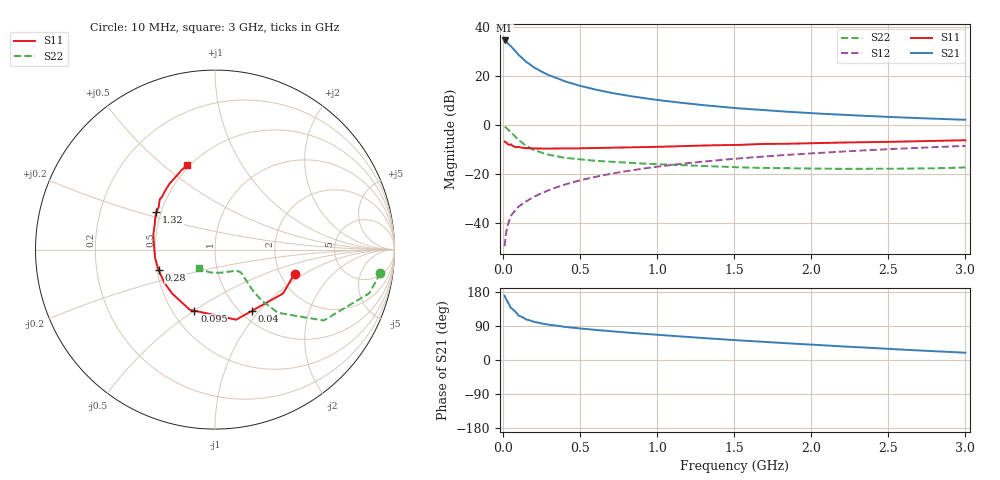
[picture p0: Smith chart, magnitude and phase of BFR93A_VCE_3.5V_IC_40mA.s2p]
! Infineon Technologies  Discrete & RF Semiconductors
! BFR93A
! VCE =  3.5 V,  IC =  40 mA
! Common Emitter S-Parameters:  Nov 2015
# GHz  S  MA  R  50
!  f  S11  S21  S12  S22
! GHz  MAG  ANG  MAG  ANG  MAG  ANG  MAG  ANG
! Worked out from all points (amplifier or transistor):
!   180 points, 10 MHz to 3 GHz, reference 50 ohm
!   highest |S21| = 34.6 dB at 10 MHz (marker M1)
!   |S21| within 3 dB of that: start of sweep to 60.38 MHz
!   unconditionally stable (mu >= 1): 291.8 MHz to 2.874 GHz
!   at 160 MHz: K = 0.85, MSG = 28.1 dB, |S12| = -30.7 dB
!   at 1.22 GHz: K = 1.08, MAG = 10.3 dB, |S12| = -15.3 dB
!   at 3 GHz: K = 0.99, MSG = 5.3 dB, |S12| = -8.4 dB
!   S11 on the Smith chart (normalised r, x): 10 MHz: 2.39, -0.82; 40 MHz: 1.12, -0.91; 95 MHz: 0.64, -0.50; 280 MHz: 0.51, -0.13; 1.32 GHz: 0.47, +0.23; 3 GHz: 0.48, +0.60
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0.01  0.4633 -16.9  53.84 169.5  0.0034 82.5  0.9308 -8.1
0.02  0.451 -32.9  51.56 160.0  0.0065 77.1  0.8934 -15.8
0.04  0.3986 -59.1  43.91 146.1  0.0114 70.0  0.7716 -26.5
0.05  0.4078 -73.2  41.31 137.5  0.0139 68.4  0.7233 -33.1
0.095  0.3593 -108.7  28.55 120.3  0.0209 64.6  0.5185 -43.4
0.1  0.3633 -112.8  27.37 117.4  0.0217 64.3  0.4973 -45.1
0.15  0.342 -134.2  19.68 107.0  0.0278 65.7  0.3784 -47.6
0.2  0.3372 -147.2  15.22 100.8  0.0345 68.1  0.3134 -47.3
0.24  0.3335 -154.4  12.94 97.3  0.0397 69.1  0.2817 -46.4
0.28  0.3335 -159.7  11.2 94.4  0.045 70.1  0.2585 -45.4
0.3  0.3342 -162.1  10.42 92.9  0.0476 70.6  0.2483 -44.8
0.4  0.3368 -172.0  7.889 87.5  0.0613 71.8  0.217 -42.8
0.52  0.3388 179.0  6.161 82.4  0.0776 71.8  0.1979 -41.8
0.6  0.342 174.7  5.35 79.3  0.0885 71.5  0.188 -41.8
0.7  0.3479 169.9  4.603 75.7  0.1023 70.8  0.1799 -42.5
0.88  0.3567 162.5  3.707 70.1  0.1265 69.3  0.1669 -45.1
1.02  0.3636 157.3  3.226 65.9  0.1451 67.7  0.1604 -47.9
1.32  0.388 147.7  2.539 57.3  0.1838 64.0  0.1469 -56.5
1.52  0.3951 142.4  2.225 52.1  0.2089 61.5  0.1387 -63.3
2.02  0.4306 129.9  1.75 40.2  0.2689 55.3  0.1304 -83.0
2.52  0.4595 118.9  1.472 29.1  0.3269 48.5  0.1294 -105.2
3  0.4946 108.5  1.293 19.2  0.3794 42.0  0.1381 -130.8
